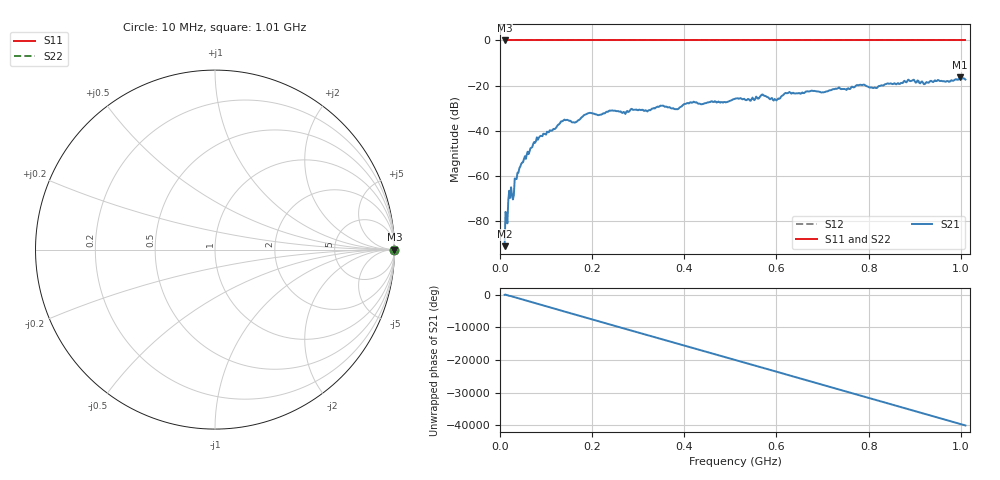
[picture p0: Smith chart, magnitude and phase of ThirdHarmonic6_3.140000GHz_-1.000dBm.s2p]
! 8/17/2025 9:22:22 AM
! C:\ANRITSUVNA\TEMP\TEMP.S2P
! CHANNEL.1
! TR.MEASUREMENT
! RAW.DATA
! RF.CORRECTION.OFF
! AVERAGING.OFF
! IF.BANDWIDTH: 5KHZ
! SWEEPTYPE:  FREQ.SWEEP(Linear)
! Reference Plane Port Info
! PORT:  PORT1  PORT2
! DISTANCE:  0  m  0  m
! TIME:  0  s  0  s
! PHASE.OFFSET:  0  deg.  0  deg.
! LOSS:  0  dB  0  dB
! REF.LOSS:  0  dB  0  dB
! REF.FREQ:  0  Hz  0  Hz
! Power Info
! POWER:  -20  dBm  -20  dBm
! EFF.POWER:  -20  dBm  -20  dBm
! SOURCE.ATTEN:  0  dB  0  dB
! TEST.ATTEN:  0  dB  0  dB
# GHZ S RI R 50.0
! FREQ.GHZ  S11RE  S11IM  S21RE  S21IM  S12RE  S12IM  S22RE  S22IM
!; PortSelection: Port_12
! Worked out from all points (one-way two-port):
!   501 points, 10 MHz to 1.01 GHz, reference 50 ohm
!   highest |S21| = -16.38 dB at 998 MHz (marker M1); lowest = -91.0 dB at 10 MHz (marker M2)
!   lowest |S11| = 0.0 dB at 10 MHz (marker M3)
!   |S11| at or under -10 dB: nowhere
!   |S22| runs from 0.0 to 0.0 dB; largest |S21 - S12| = 1.1
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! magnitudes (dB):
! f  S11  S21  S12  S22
! 10 MHz  0.0  -91.0  0.0  0.0
! 12 MHz  0.0  -75.9  0.0  0.0
! 22 MHz  0.0  -69.7  0.0  0.0
! 26 MHz  0.0  -68.1  0.0  0.0
! 42 MHz  0.0  -56.6  0.0  0.0
! 76 MHz  0.0  -45.3  0.0  0.0
! 136 MHz  0.0  -35.7  0.0  0.0
! 162 MHz  0.0  -36.4  0.0  0.0
! 178 MHz  0.0  -33.9  0.0  0.0
! 194 MHz  0.0  -32.1  0.0  0.0
! 322 MHz  0.0  -30.9  0.0  0.0
! 344 MHz  0.0  -29.4  0.0  0.0
! 384 MHz  0.0  -30.4  0.0  0.0
! 416 MHz  0.0  -27.5  0.0  0.0
! 510 MHz  0.0  -25.8  0.0  0.0
! 570 MHz  0.0  -23.9  0.0  0.0
! 598 MHz  0.0  -26.2  0.0  0.0
! 624 MHz  0.0  -23.3  0.0  0.0
! 678 MHz  0.0  -22.3  0.0  0.0
! 844 MHz  0.0  -19.1  0.0  0.0
! 998 MHz  0.0  -16.4  0.0  0.0
! 1.01 GHz  0.0  -17.3  0.0  0.0
